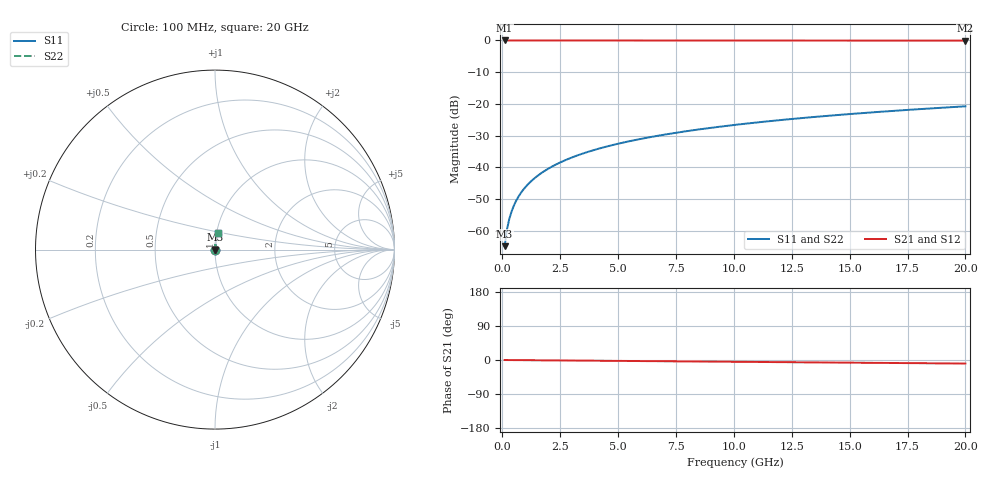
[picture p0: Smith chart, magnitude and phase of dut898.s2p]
! Touchstone file exported from HFSS 2026.1.0
!  File:  C:/ffzhzh/LocalFiles/Ansys_Project_Files/temp_train_TSV_898_1783186090_55132.aedt
!  Generated:  01:29:53 AM Jul  5, 2026
!  Design:  TSV
!  Project:  temp_train_TSV_898_1783186090_55132
! Variables:
!  h_bsmrdl = 2um
!  h_ox = 20um
!  h_rdl = 5um
!  h_sub = 69.83um
!  h_tmrdl = 5um
!  h_tsv = 69.83um
!  h_via = 3um
!  l_bsmrdl = 300um
!  l_sub = 411.48um
!  l_tmrdl = 200um
!  m_sub = 200um
!  pitch = 58.89um
!  r_tsv = 5.74um
!  s_tmrdl = 10um
!  w_bsmrdl = 18um
!  w_sub = 500um
!  w_tmrdl = 12um
!  x_tsv_center1 = 206um
!  x_tsv_center2 = 524um
!  x_tsv_center3 = 736um
!  x_tsv_center4 = 1054um
!  x_tsv_center5 = 1266um
!  x_tsv_center6 = 1584um
# GHz S MA R 50.000000
! Terminal data exported
! Port[1] = TSV1_1_T1
! Port[2] = TSV1_1_T2
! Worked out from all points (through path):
!   200 points, 100 MHz to 20 GHz, reference 50 ohm
!   highest |S21| = 0.00 dB at 100 MHz (marker M1); lowest = -0.1 dB at 20 GHz (marker M2)
!   group delay of S21, straight-line fit = 1.3 ps
!   lowest |S11| = -64.9 dB at 100 MHz (marker M3), VSWR 1.00, Z = 50 + j0.0498 ohm
!   |S11| at or under -10 dB: start of sweep to end of sweep
!   |S22| runs from -64.9 to -20.8 dB; largest |S21 - S12| = 5.8e-15
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0.1  0.0005689 61.0  0.9997 -0.0  0.9997 -0.0  0.0005689 61.0
! Gamma 0 0 0 0
! Port Impedance 50 0 50 0
0.2  0.001034 74.0  0.9997 -0.1  0.9997 -0.1  0.001034 74.0
0.3  0.001516 78.6  0.9997 -0.1  0.9997 -0.1  0.001516 78.6
0.4  0.002001 80.9  0.9997 -0.2  0.9997 -0.2  0.002001 80.9
0.5  0.002484 82.2  0.9997 -0.2  0.9997 -0.2  0.002484 82.2
0.6  0.002965 83.0  0.9997 -0.3  0.9997 -0.3  0.002965 83.0
0.7  0.003443 83.6  0.9996 -0.3  0.9996 -0.3  0.003443 83.6
0.8  0.003919 84.1  0.9996 -0.4  0.9996 -0.4  0.003919 84.1
1  0.004866 84.7  0.9996 -0.5  0.9996 -0.5  0.004866 84.7
1.4  0.006749 85.4  0.9995 -0.7  0.9995 -0.7  0.006749 85.4
1.7  0.008157 85.7  0.9995 -0.8  0.9995 -0.8  0.008157 85.7
2  0.009563 85.9  0.9994 -1.0  0.9994 -1.0  0.009563 85.9
2.7  0.01283 86.0  0.9993 -1.3  0.9993 -1.3  0.01283 86.0
3.5  0.01656 85.9  0.9992 -1.7  0.9992 -1.7  0.01656 85.9
4.2  0.0198 85.8  0.999 -2.0  0.999 -2.0  0.0198 85.8
5  0.02349 85.6  0.9989 -2.4  0.9989 -2.4  0.02349 85.6
6.8  0.03176 85.0  0.9985 -3.2  0.9985 -3.2  0.03176 85.0
8.3  0.03861 84.5  0.9982 -3.9  0.9982 -3.9  0.03861 84.5
10.1  0.04682 83.8  0.9977 -4.8  0.9977 -4.8  0.04682 83.8
13.4  0.06179 82.4  0.9967 -6.3  0.9967 -6.3  0.06179 82.4
16.7  0.07665 81.0  0.9955 -7.8  0.9955 -7.8  0.07665 81.0
20  0.09137 79.6  0.9941 -9.4  0.9941 -9.4  0.09137 79.6
